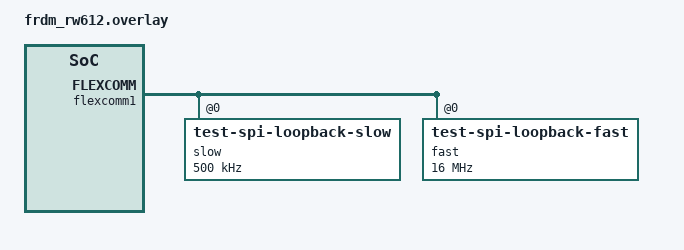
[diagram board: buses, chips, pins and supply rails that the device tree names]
/*
 * Copyright 2026 NXP
 *
 * SPDX-License-Identifier: Apache-2.0
 */

/* Enable both DMA controllers on RW612 */
tst_dma0: &dma0 {};

tst_dma1: &gdma {};

&flexcomm1 {
	slow@0 {
		compatible = "test-spi-loopback-slow";
		reg = <0>;
		spi-max-frequency = <500000>;
	};
	fast@0 {
		compatible = "test-spi-loopback-fast";
		reg = <0>;
		spi-max-frequency = <16000000>;
	};
};
